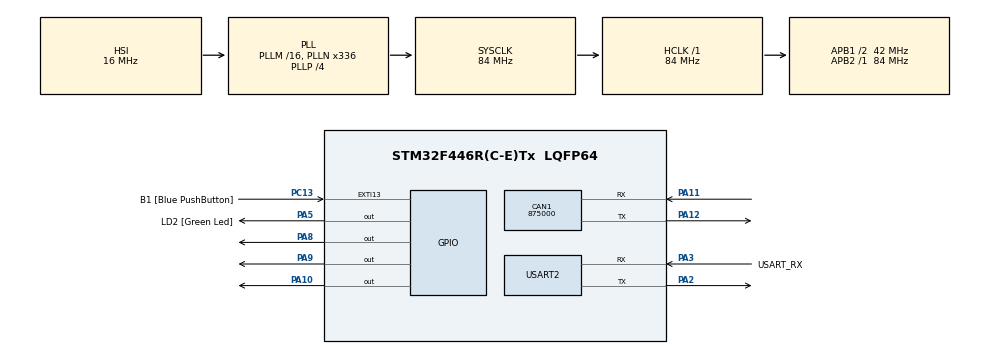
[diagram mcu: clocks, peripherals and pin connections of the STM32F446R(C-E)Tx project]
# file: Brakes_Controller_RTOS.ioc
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CAN1.CalculateBaudRate=875000
CAN1.CalculateTimeBit=1142
CAN1.CalculateTimeQuantum=380.95238095238096
FREERTOS.BinarySemaphores01=StatusMutex,Dynamic,NULL,Available
FREERTOS.Queues01=CANRxQueue,10,CAN_Msg_t,0,Dynamic,NULL,NULL
FREERTOS.Tasks01=BrakeTask,40,128,StartBrakeTask,Default,NULL,Dynamic,NULL,NULL;HeartBeatTask,16,128,StartHeartbeatTask,Default,NULL,Dynamic,NULL,NULL
FREERTOS.configUSE_NEWLIB_REENTRANT=1
Mcu.Family=STM32F4
Mcu.Name=STM32F446R(C-E)Tx
Mcu.Package=LQFP64
NVIC.PriorityGroup=NVIC_PRIORITYGROUP_4
NVIC.TIM6_DAC_IRQn=true\:15\:0\:false\:false\:true\:false\:false\:true\:true
NVIC.TimeBase=TIM6_DAC_IRQn
NVIC.TimeBaseIP=TIM6
PA10.Signal=GPIO_Output
PA11.Mode=CAN_Activate
PA11.Signal=CAN1_RX
PA12.Mode=CAN_Activate
PA12.Signal=CAN1_TX
PA13.GPIO_Label=TMS
PA13.Signal=SYS_JTMS-SWDIO
PA14.GPIO_Label=TCK
PA14.Signal=SYS_JTCK-SWCLK
PA2.Mode=Asynchronous
PA2.Signal=USART2_TX
PA3.GPIO_Label=USART_RX
PA3.Mode=Asynchronous
PA3.Signal=USART2_RX
PA5.GPIO_Label=LD2 [Green Led]
PA5.Signal=GPIO_Output
PA8.Signal=GPIO_Output
PA9.Signal=GPIO_Output
PB3.GPIO_Label=SWO
PB3.Signal=SYS_JTDO-SWO
PC13.GPIO_Label=B1 [Blue PushButton]
PC13.GPIO_ModeDefaultEXTI=GPIO_MODE_IT_FALLING
PC13.Signal=GPXTI13
PC14-OSC32_IN.Signal=RCC_OSC32_IN
PC15-OSC32_OUT.Signal=RCC_OSC32_OUT
PH0-OSC_IN.Signal=RCC_OSC_IN
PH1-OSC_OUT.Signal=RCC_OSC_OUT
ProjectManager.HeapSize=0x200
ProjectManager.StackSize=0x400
ProjectManager.TargetToolchain=STM32CubeIDE
RCC.AHBFreq_Value=84000000
RCC.APB1CLKDivider=RCC_HCLK_DIV2
RCC.APB1Freq_Value=42000000
RCC.APB1TimFreq_Value=84000000
RCC.APB2Freq_Value=84000000
RCC.APB2TimFreq_Value=84000000
RCC.CortexFreq_Value=84000000
RCC.FLatency-AdvancedSettings=FLASH_LATENCY_2
RCC.HCLKFreq_Value=84000000
RCC.HSE_VALUE=8000000
RCC.HSI_VALUE=16000000
RCC.LSE_VALUE=32768
RCC.PLLN=336
RCC.PLLP=RCC_PLLP_DIV4
RCC.SYSCLKFreq_VALUE=84000000
RCC.SYSCLKSource=RCC_SYSCLKSOURCE_PLLCLK
RCC.USBFreq_Value=168000000
RCC.VCOOutputFreq_Value=336000000
USART2.VirtualMode=VM_ASYNC
VP_FREERTOS_VS_CMSIS_V2.Mode=CMSIS_V2
VP_SYS_VS_tim6.Mode=TIM6
board=NUCLEO-F446RE

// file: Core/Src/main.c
/* USER CODE BEGIN Header */
/**
  ******************************************************************************
  * @file           : main.c
  * @brief          : Main program body
  ******************************************************************************
  * @attention
  *
  * Copyright (c) 2026 STMicroelectronics.
  * All rights reserved.
  *
  * This software is licensed under terms that can be found in the LICENSE file
  * in the root directory of this software component.
  * If no LICENSE file comes with this software, it is provided AS-IS.
  *
  ******************************************************************************
  */
/* USER CODE END Header */
#include "main.h"
#include "cmsis_os.h"
#include <string.h> // Required for memcpy
#include <stdio.h>  // Required for printf

/* USER CODE BEGIN PTD */

// --- Data Structure for Queue ---
typedef struct {
    uint32_t StdId;
    uint8_t Data[8];
} CAN_Msg_t;

/* USER CODE END PTD */

CAN_HandleTypeDef hcan1;

UART_HandleTypeDef huart2;

/* Definitions for BrakeTask */
osThreadId_t BrakeTaskHandle;
const osThreadAttr_t BrakeTask_attributes = {
  .name = "BrakeTask",
  .stack_size = 128 * 4,
  .priority = (osPriority_t) osPriorityHigh,
};
/* Definitions for HeartBeatTask */
osThreadId_t HeartBeatTaskHandle;
const osThreadAttr_t HeartBeatTask_attributes = {
  .name = "HeartBeatTask",
  .stack_size = 128 * 4,
  .priority = (osPriority_t) osPriorityBelowNormal,
};
/* Definitions for CANRxQueue */
osMessageQueueId_t CANRxQueueHandle;
const osMessageQueueAttr_t CANRxQueue_attributes = {
  .name = "CANRxQueue"
};
/* Definitions for StatusMutex */
osSemaphoreId_t StatusMutexHandle;
const osSemaphoreAttr_t StatusMutex_attributes = {
  .name = "StatusMutex"
};
/* USER CODE BEGIN PV */

uint8_t brakes_status = 1; // 1 = Disengaged, 0 = Engaged

/* USER CODE END PV */

void SystemClock_Config(void);
static void MX_GPIO_Init(void);
static void MX_USART2_UART_Init(void);
static void MX_CAN1_Init(void);
void StartBrakeTask(void *argument);
void StartHeartbeatTask(void *argument);

/* USER CODE BEGIN PFP */

void Manage_Solenoids(uint8_t status);

/* USER CODE END PFP */

/* USER CODE BEGIN 0 */
#ifdef __GNUC__
#define PUTCHAR_PROTOTYPE int __io_putchar(int ch)
#else
#define PUTCHAR_PROTOTYPE int fputc(int ch, FILE *f)
#endif

PUTCHAR_PROTOTYPE
{
  HAL_UART_Transmit(&huart2, (uint8_t *)&ch, 1, HAL_MAX_DELAY);
  return ch;
}

// Also override _write for newer versions of Newlib (Standard C Library)
int _write(int file, char *ptr, int len)
{
  HAL_UART_Transmit(&huart2, (uint8_t *)ptr, len, HAL_MAX_DELAY);
  return len;
}
/* USER CODE END 0 */

int main(void)
{

  /* MCU Configuration--------------------------------------------------------*/

  /* Reset of all peripherals, Initializes the Flash interface and the Systick. */
  HAL_Init();

  /* Configure the system clock */
  SystemClock_Config();

  /* Initialize all configured peripherals */
  MX_GPIO_Init();
  MX_USART2_UART_Init();
  MX_CAN1_Init();

  /* Init scheduler */
  osKernelInitialize();

  /* Create the semaphores(s) */
  /* creation of StatusMutex */
  StatusMutexHandle = osSemaphoreNew(1, 1, &StatusMutex_attributes);

  /* Create the queue(s) */
  /* creation of CANRxQueue */
  CANRxQueueHandle = osMessageQueueNew (10, sizeof(CAN_Msg_t), &CANRxQueue_attributes);

  /* Create the thread(s) */
  /* creation of BrakeTask */
  BrakeTaskHandle = osThreadNew(StartBrakeTask, NULL, &BrakeTask_attributes);

  /* creation of HeartBeatTask */
  HeartBeatTaskHandle = osThreadNew(StartHeartbeatTask, NULL, &HeartBeatTask_attributes);

  /* USER CODE BEGIN 2 */

  // 1. Configure Filter (Required to receive anything!)
  CAN_FilterTypeDef canfilterconfig;
  canfilterconfig.FilterActivation = CAN_FILTER_ENABLE;
  canfilterconfig.FilterBank = 0;
  canfilterconfig.FilterFIFOAssignment = CAN_RX_FIFO0;
  canfilterconfig.FilterIdHigh = 0x0000;
  canfilterconfig.FilterIdLow = 0x0000;
  canfilterconfig.FilterMaskIdHigh = 0x0000;
  canfilterconfig.FilterMaskIdLow = 0x0000;
  canfilterconfig.FilterMode = CAN_FILTERMODE_IDMASK;
  canfilterconfig.FilterScale = CAN_FILTERSCALE_32BIT;
  HAL_CAN_ConfigFilter(&hcan1, &canfilterconfig);

  // 2. Start CAN Bus
  HAL_CAN_Start(&hcan1);

  // 3. Enable Interrupts
  HAL_CAN_ActivateNotification(&hcan1, CAN_IT_RX_FIFO0_MSG_PENDING);

  /* USER CODE END 2 */

  /* Start scheduler */
  osKernelStart();

  /* We should never get here as control is now taken by the scheduler */

  /* Infinite loop */
  while (1)
  {

  }
}

void SystemClock_Config(void)
{
  RCC_OscInitTypeDef RCC_OscInitStruct = {0};
  RCC_ClkInitTypeDef RCC_ClkInitStruct = {0};

  /** Configure the main internal regulator output voltage
  */
  __HAL_RCC_PWR_CLK_ENABLE();
  __HAL_PWR_VOLTAGESCALING_CONFIG(PWR_REGULATOR_VOLTAGE_SCALE3);

  /** Initializes the RCC Oscillators according to the specified parameters
  * in the RCC_OscInitTypeDef structure.
  */
  RCC_OscInitStruct.OscillatorType = RCC_OSCILLATORTYPE_HSI;
  RCC_OscInitStruct.HSIState = RCC_HSI_ON;
  RCC_OscInitStruct.HSICalibrationValue = RCC_HSICALIBRATION_DEFAULT;
  RCC_OscInitStruct.PLL.PLLState = RCC_PLL_ON;
  RCC_OscInitStruct.PLL.PLLSource = RCC_PLLSOURCE_HSI;
  RCC_OscInitStruct.PLL.PLLM = 16;
  RCC_OscInitStruct.PLL.PLLN = 336;
  RCC_OscInitStruct.PLL.PLLP = RCC_PLLP_DIV4;
  RCC_OscInitStruct.PLL.PLLQ = 2;
  RCC_OscInitStruct.PLL.PLLR = 2;
  if (HAL_RCC_OscConfig(&RCC_OscInitStruct) != HAL_OK)
  {
    Error_Handler();
  }

  /** Initializes the CPU, AHB and APB buses clocks
  */
  RCC_ClkInitStruct.ClockType = RCC_CLOCKTYPE_HCLK|RCC_CLOCKTYPE_SYSCLK
                              |RCC_CLOCKTYPE_PCLK1|RCC_CLOCKTYPE_PCLK2;
  RCC_ClkInitStruct.SYSCLKSource = RCC_SYSCLKSOURCE_PLLCLK;
  RCC_ClkInitStruct.AHBCLKDivider = RCC_SYSCLK_DIV1;
  RCC_ClkInitStruct.APB1CLKDivider = RCC_HCLK_DIV2;
  RCC_ClkInitStruct.APB2CLKDivider = RCC_HCLK_DIV1;

  if (HAL_RCC_ClockConfig(&RCC_ClkInitStruct, FLASH_LATENCY_2) != HAL_OK)
  {
    Error_Handler();
  }
}

static void MX_CAN1_Init(void)
{

  hcan1.Instance = CAN1;
  hcan1.Init.Prescaler = 16;
  hcan1.Init.Mode = CAN_MODE_NORMAL;
  hcan1.Init.SyncJumpWidth = CAN_SJW_1TQ;
  hcan1.Init.TimeSeg1 = CAN_BS1_1TQ;
  hcan1.Init.TimeSeg2 = CAN_BS2_1TQ;
  hcan1.Init.TimeTriggeredMode = DISABLE;
  hcan1.Init.AutoBusOff = DISABLE;
  hcan1.Init.AutoWakeUp = DISABLE;
  hcan1.Init.AutoRetransmission = DISABLE;
  hcan1.Init.ReceiveFifoLocked = DISABLE;
  hcan1.Init.TransmitFifoPriority = DISABLE;
  if (HAL_CAN_Init(&hcan1) != HAL_OK)
  {
    Error_Handler();
  }

}

static void MX_USART2_UART_Init(void)
{

  huart2.Instance = USART2;
  huart2.Init.BaudRate = 115200;
  huart2.Init.WordLength = UART_WORDLENGTH_8B;
  huart2.Init.StopBits = UART_STOPBITS_1;
  huart2.Init.Parity = UART_PARITY_NONE;
  huart2.Init.Mode = UART_MODE_TX_RX;
  huart2.Init.HwFlowCtl = UART_HWCONTROL_NONE;
  huart2.Init.OverSampling = UART_OVERSAMPLING_16;
  if (HAL_UART_Init(&huart2) != HAL_OK)
  {
    Error_Handler();
  }

}

static void MX_GPIO_Init(void)
{
  GPIO_InitTypeDef GPIO_InitStruct = {0};

  /* GPIO Ports Clock Enable */
  __HAL_RCC_GPIOC_CLK_ENABLE();
  __HAL_RCC_GPIOH_CLK_ENABLE();
  __HAL_RCC_GPIOA_CLK_ENABLE();
  __HAL_RCC_GPIOB_CLK_ENABLE();

  /*Configure GPIO pin Output Level */
  HAL_GPIO_WritePin(GPIOA, LD2_Pin|GPIO_PIN_8|GPIO_PIN_9|GPIO_PIN_10, GPIO_PIN_RESET);

  /*Configure GPIO pin : B1_Pin */
  GPIO_InitStruct.Pin = B1_Pin;
  GPIO_InitStruct.Mode = GPIO_MODE_IT_FALLING;
  GPIO_InitStruct.Pull = GPIO_NOPULL;
  HAL_GPIO_Init(B1_GPIO_Port, &GPIO_InitStruct);

  /*Configure GPIO pins : LD2_Pin PA8 PA9 PA10 */
  GPIO_InitStruct.Pin = LD2_Pin|GPIO_PIN_8|GPIO_PIN_9|GPIO_PIN_10;
  GPIO_InitStruct.Mode = GPIO_MODE_OUTPUT_PP;
  GPIO_InitStruct.Pull = GPIO_NOPULL;
  GPIO_InitStruct.Speed = GPIO_SPEED_FREQ_LOW;
  HAL_GPIO_Init(GPIOA, &GPIO_InitStruct);

  /* USER CODE BEGIN MX_GPIO_Init_2 */

  /* ADD THIS: Configure GPIO pins : PB4 PB10 */
    GPIO_InitStruct.Pin = GPIO_PIN_4|GPIO_PIN_10;
    HAL_GPIO_Init(GPIOB, &GPIO_InitStruct); // <--- Don't forget this!

  /* USER CODE END MX_GPIO_Init_2 */
}

void StartBrakeTask(void *argument)
{
  /* USER CODE BEGIN 5 */
	CAN_Msg_t receivedMsg;
	char uart_buf[50];
  /* Infinite loop */
  for(;;)
  {
	  // Block (sleep) indefinitely until a message arrives in the Queue
	  if (osMessageQueueGet(CANRxQueueHandle, &receivedMsg, NULL, osWaitForever) == osOK)
	  {
		// --- CRITICAL SECTION START ---
		// We are about to change the shared variable
		osSemaphoreAcquire(StatusMutexHandle, osWaitForever);

		if (receivedMsg.StdId == 0x201)
		{
		  brakes_status = 0; // Engage
		  printf("CMD: Engage (0x201)\r\n");
		}
		else if (receivedMsg.StdId == 0x202)
		{
		  brakes_status = 1; // Disengage
		  printf("CMD: Disengage (0x202)\r\n");
		}

		// Update hardware immediately
		Manage_Solenoids(brakes_status);

//		printf("Brake Task Update: %d\r\n", brakes_status);

		osSemaphoreRelease(StatusMutexHandle);
		// --- CRITICAL SECTION END ---

		// Print is now safe here (unlike in the ISR)
		HAL_UART_Transmit(&huart2, (uint8_t*)uart_buf, strlen(uart_buf), 10);
		HAL_GPIO_TogglePin(GPIOA, GPIO_PIN_5); // Blink LED
	  }
  }
  osThreadTerminate(NULL);
  /* USER CODE END 5 */
}

void StartHeartbeatTask(void *argument)
{
  /* USER CODE BEGIN StartHeartbeatTask */

	CAN_TxHeaderTypeDef TxHeader;
	uint32_t TxMailbox;
	uint8_t current_status;

	TxHeader.StdId = 0x299;
	TxHeader.IDE = CAN_ID_STD;
	TxHeader.RTR = CAN_RTR_DATA;
	TxHeader.DLC = 1;

	for(;;)
	{
		// 1. Read the shared variable safely
		osSemaphoreAcquire(StatusMutexHandle, osWaitForever);
		current_status = brakes_status;
		osSemaphoreRelease(StatusMutexHandle);
		printf("Heartbeat Update: %d\r\n", current_status);

		// 2. Send CAN Message
		if (HAL_CAN_AddTxMessage(&hcan1, &TxHeader, &current_status, &TxMailbox) != HAL_OK)
		{
		  // Handle error (optional)
		}

		HAL_GPIO_TogglePin(GPIOA, GPIO_PIN_5);
		osDelay(500);
		HAL_GPIO_TogglePin(GPIOA, GPIO_PIN_5);

		// 3. Sleep for 5000ms
		// Unlike HAL_Delay, this releases the CPU for other tasks!
		osDelay(1000);
	}
  /* USER CODE END StartHeartbeatTask */
}

void HAL_TIM_PeriodElapsedCallback(TIM_HandleTypeDef *htim)
{
  if (htim->Instance == TIM6)
  {
    HAL_IncTick();
  }
}

/* USER CODE BEGIN 4 */

void HAL_CAN_RxFifo0MsgPendingCallback(CAN_HandleTypeDef *hcan)
{
  CAN_RxHeaderTypeDef RxHeader;
  uint8_t RxData[8];
  CAN_Msg_t msg_to_store;

  // 1. Get data from hardware
  if (HAL_CAN_GetRxMessage(hcan, CAN_RX_FIFO0, &RxHeader, RxData) == HAL_OK)
  {
      // 2. Pack into our custom struct
      msg_to_store.StdId = RxHeader.StdId; // NOTE: Use StdId, not ID
      memcpy(msg_to_store.Data, RxData, 8);

      // 3. Send to Queue (Timeout MUST be 0 in an ISR)
      osMessageQueuePut(CANRxQueueHandle, &msg_to_store, 0U, 0U);
  }
}

/*Helper to drive pins (Logic unchanged)*/
void Manage_Solenoids(uint8_t state)
{
  GPIO_PinState pin_state = (state == 1) ? GPIO_PIN_SET : GPIO_PIN_RESET;
  HAL_GPIO_WritePin(GPIOA, GPIO_PIN_8 | GPIO_PIN_9, pin_state);
  HAL_GPIO_WritePin(GPIOB, GPIO_PIN_4 | GPIO_PIN_10, pin_state);
}

/* USER CODE END 4 */

void Error_Handler(void)
{
  __disable_irq();
  while (1)
  {
  }
}
